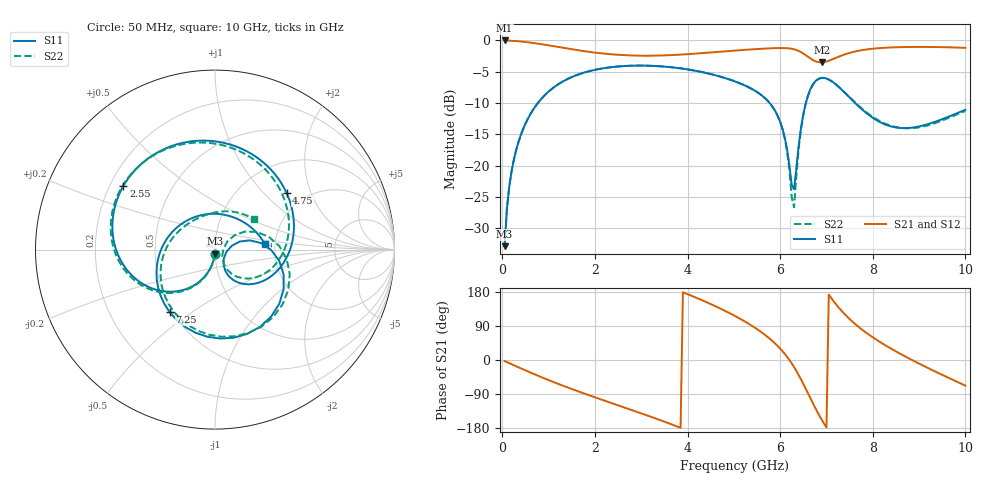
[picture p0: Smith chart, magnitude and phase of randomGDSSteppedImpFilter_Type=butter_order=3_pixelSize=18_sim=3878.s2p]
! freq	dB(S11)	phase(S11)	dB(S12)	phase(S12)
!  dB(S21)	phase(S21)	dB(S22)	phase(S22)
!S-par simulation data
#  GHz  S  DB  R 50
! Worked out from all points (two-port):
!   200 points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, 50 MHz to 10 GHz, reference 50 ohm
!   highest |S21| = 0.00 dB at 50 MHz (marker M1); lowest = -3.5 dB at 6.9 GHz (marker M2)
!   |S21| within 3 dB of the highest: start of sweep to 6.678 GHz; 7.133 GHz to end of sweep
!   lowest |S11| = -32.9 dB at 50 MHz (marker M3), VSWR 1.05, Z = 49.8 - j2.27 ohm
!   |S11| at or under -10 dB: start of sweep to 768.2 MHz; 5.772 GHz to 6.554 GHz (781.2 MHz wide, 12.7 % of centre); 7.62 GHz to end of sweep
!   |S22| runs from -32.8 to -4.0 dB; largest |S21 - S12| = 0
!   S11 on the Smith chart (normalised r, x): 50 MHz: 1.00, -0.05; 2.55 GHz: 0.25, +0.29; 4.75 GHz: 1.61, +1.37; 7.25 GHz: 0.48, -0.41; 10 GHz: 1.76, +0.11
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0.05  -32.86 -92.9  -0.00 -2.8  -0.00 -2.8  -32.84 -92.9
0.2  -20.91 -101.8  -0.05 -11.1  -0.05 -11.1  -20.92 -101.3
0.5  -13.29 -118.4  -0.25 -27.4  -0.25 -27.4  -13.31 -117.5
1.1  -7.56 -149.5  -0.91 -57.9  -0.91 -57.9  -7.56 -147.5
1.75  -5.17 -180.0  -1.70 -87.7  -1.70 -87.7  -5.17 -176.6
2.55  -4.13 145.2  -2.32 -121.6  -2.32 -121.6  -4.13 150.4
3.4  -4.12 107.7  -2.41 -158.1  -2.41 -158.1  -4.12 115.2
4.15  -4.81 71.4  -2.12 166.2  -2.12 166.2  -4.81 81.2
4.75  -5.87 38.4  -1.77 133.3  -1.77 133.3  -5.86 49.8
5.05  -6.62 19.9  -1.60 114.6  -1.60 114.6  -6.61 31.9
5.7  -9.41 -27.8  -1.29 63.7  -1.29 63.7  -9.41 -16.4
6  -12.98 -54.9  -1.22 30.1  -1.22 30.1  -13.04 -45.9
6.2  -20.00 -61.2  -1.28 -0.0  -1.28 -0.0  -20.73 -58.4
6.3  -23.77 -11.1  -1.41 -18.5  -1.41 -18.5  -26.65 4.6
6.45  -13.95 14.9  -1.87 -51.1  -1.87 -51.1  -14.24 31.1
6.7  -7.10 -29.9  -3.11 -112.5  -3.11 -112.5  -7.16 -18.3
6.9  -5.97 -68.9  -3.50 -158.2  -3.50 -158.2  -6.00 -58.9
7.25  -7.32 -125.9  -2.64 140.4  -2.64 140.4  -7.31 -116.6
7.7  -10.56 178.1  -1.64 86.8  -1.64 86.8  -10.46 -169.0
8.35  -13.64 114.0  -1.14 33.1  -1.14 33.1  -13.53 139.4
9.1  -13.56 56.2  -1.04 -15.6  -1.04 -15.6  -13.73 92.1
10  -11.08 6.1  -1.19 -67.7  -1.19 -67.7  -11.25 38.0
